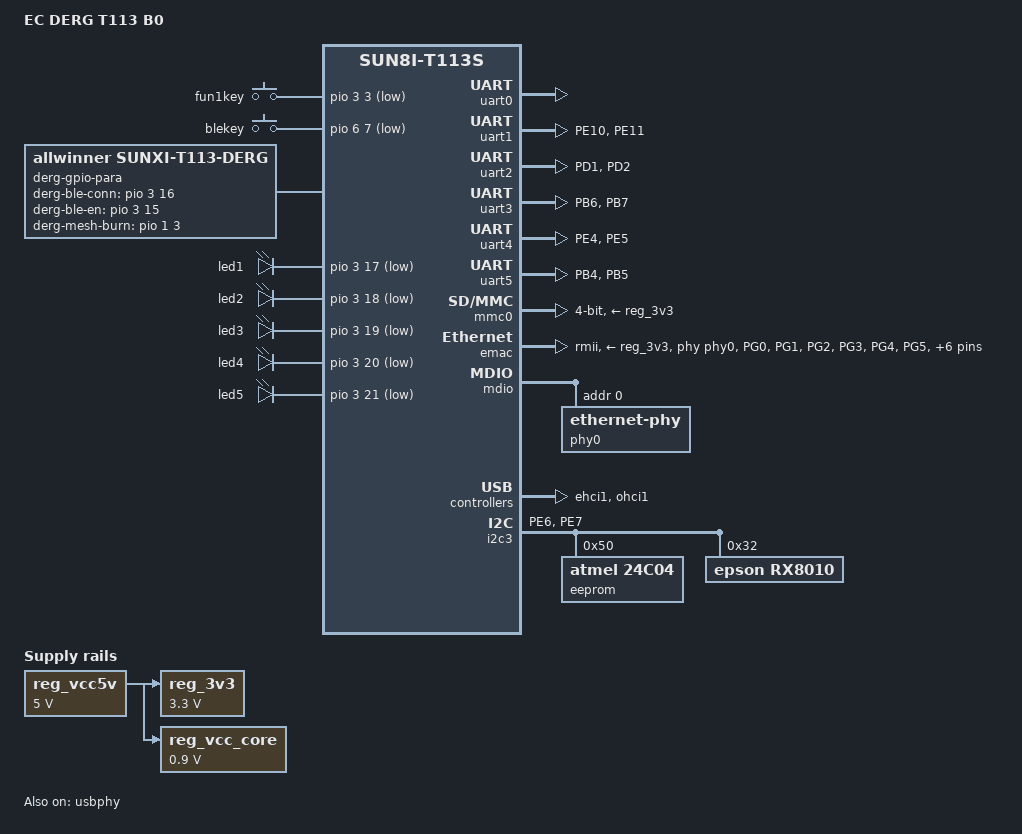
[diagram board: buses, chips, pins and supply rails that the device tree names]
// SPDX-License-Identifier: (GPL-2.0+ OR MIT)
// Copyright (C) 2022 Arm Ltd.

#include <dt-bindings/interrupt-controller/irq.h>
#include <dt-bindings/gpio/gpio.h>
#include <dt-bindings/leds/common.h>
#include <dt-bindings/pwm/pwm.h>

/dts-v1/;

#include "sun8i-t113s.dtsi"

/ {
	model = "EC DERG T113 B0";
	compatible = "allwinner,sun8i-t113s";

	aliases {
                serial0 = &uart0;
	};

        chosen {
               stdout-path = "serial0:115200n8";
        };

	/* board wide 5V supply directly from DC input */
	reg_vcc5v: regulator-5v {
		compatible = "regulator-fixed";
		regulator-name = "vcc-5v";
		regulator-min-microvolt = <5000000>;
		regulator-max-microvolt = <5000000>;
		regulator-always-on;
	};

	/* AMS1117-3.3 regulator on the board */
	reg_3v3: regulator-3v3 {
		compatible = "regulator-fixed";
		regulator-name = "vcc-3v3";
		regulator-min-microvolt = <3300000>;
		regulator-max-microvolt = <3300000>;
		vin-supply = <&reg_vcc5v>;
	};

	/* EA3036C DC/DC regulator on the board, also supplying VDD-SYS */
	reg_vcc_core: regulator-core {
		compatible = "regulator-fixed";
		regulator-name = "vcc-core";
		regulator-min-microvolt = <900000>;
		regulator-max-microvolt = <900000>;
		vin-supply = <&reg_vcc5v>;
	};

	watchdog {
		compatible = "allwinner,sun20i-d1-wdt";
		reg = <0x020500A0 0x20>;
	};

        derg-gpiokey {
                compatible = "gpio-keys";

                fun1key {
                        device_type = "fun1key";
                        label = "fun1key";
                        gpios = <&pio 3 3 GPIO_ACTIVE_LOW>;	//PD3
                        linux,input-type = <1>;
                        linux,code = <139>;
                        debounce-interval = <5>;
                        gpio-key,wakeup;
                };

                blekey {
                        device_type = "blekey";
                        label = "blekey";
                        gpios = <&pio 6 7 GPIO_ACTIVE_LOW>;	//PG7
                        linux,input-type = <1>;
                        linux,code = <140>;
                        debounce-interval = <5>;
                        gpio-key,wakeup;
                };
        };

        derg-gpio-para {
                compatible = "allwinner,sunxi-t113-derg";
                derg-ble-conn-gpios = <&pio 3 16 GPIO_ACTIVE_HIGH>;	//PD16
                derg-ble-en-gpios = <&pio 3 15 (GPIO_ACTIVE_HIGH | GPIO_PULL_UP)>;      //PD15
		derg-mesh-burn-gpios = <&pio 1 3 (GPIO_ACTIVE_HIGH | GPIO_PULL_UP)>;	//PB3
        };

        derg-leds {
                compatible = "gpio-leds";
                led1 {
                        label = "led1";
                        gpios = <&pio 3 17 GPIO_ACTIVE_LOW>;	//PD17
                        default-state = "off";
                };
                led2 {
                        label = "led2";
                        gpios = <&pio 3 18 GPIO_ACTIVE_LOW>;	//PD18
                        default-state = "off";
                };
                led3 {
                        label = "led3";
                        gpios = <&pio 3 19 GPIO_ACTIVE_LOW>;	//PD19
                        default-state = "off";
                };
                led4 {
                        label = "led4";
                        gpios = <&pio 3 20 GPIO_ACTIVE_LOW>;	//PD20
                        default-state = "off";
                };
                led5 {
                        label = "led5";
                        gpios = <&pio 3 21 GPIO_ACTIVE_LOW>;	//PD21
                        default-state = "off";
                };
        };
};

&pio {
	vcc-pc-supply = <&reg_3v3>;
	vcc-pd-supply = <&reg_3v3>;
	vcc-pe-supply = <&reg_3v3>;
	vcc-pf-supply = <&reg_3v3>;
	vcc-pg-supply = <&reg_3v3>;

        rmii_pg_pins: rmii-pg-pins {
	        pins = "PG0", "PG1", "PG2", "PG3", "PG4",
	        "PG5", "PG8", "PG11", "PG12", "PG13", "PG14", "PG15";
	        function = "emac";
        };

        ble_pins: ble_pins {
                pins = "PD1", "PD2";
                function = "uart2";
        };

        mesh_data_pins: mesh_data_pins {
                pins = "PB4", "PB5";
                function = "uart5";
        };

        mesh_debug_pins: mesh_debug_pins {
                pins = "PB6", "PB7";
                function = "uart3";
        };

        u485_1_pins: u485_1_pins {
                pins = "PE10", "PE11";
                function = "uart1";
        };

        u485_2_pins: u485_2_pins {
                pins = "PE4", "PE5";
                function = "uart4";
        };

	i2c3_pins: i2c3-pins {
		pins = "PE6", "PE7";
		function = "i2c3";
	};
};

&cpu0 {
	cpu-supply = <&reg_vcc_core>;
};

&cpu1 {
	cpu-supply = <&reg_vcc_core>;
};

&dcxo {
	clock-frequency = <24000000>;
};

&uart0 {
	pinctrl-names = "default";
	pinctrl-0 = <&uart0_pe_pins>;
	status = "okay";
};

&uart1 {
        pinctrl-names = "default";
        pinctrl-0 = <&u485_1_pins>;
        status = "okay";
};

&uart2 {
        pinctrl-names = "default";
        pinctrl-0 = <&ble_pins>;
        status = "okay";
};

&uart3 {
        pinctrl-names = "default";
        pinctrl-0 = <&mesh_debug_pins>;
        status = "okay";
};

&uart4 {
        pinctrl-names = "default";
        pinctrl-0 = <&u485_2_pins>;
        status = "okay";
};

&uart5 {
        pinctrl-names = "default";
        pinctrl-0 = <&mesh_data_pins>;
        status = "okay";
};

&mmc0 {
	pinctrl-names = "default";
	pinctrl-0 = <&mmc0_pins>;
	vmmc-supply = <&reg_3v3>;
	disable-wp;
	bus-width = <4>;
	status = "okay";
};

&emac {
	compatible = "allwinner,sun50i-h6-emac";
	pinctrl-names = "default";
	pinctrl-0 = <&rmii_pg_pins>;
	clocks = <&ccu CLK_BUS_EMAC>, <&ccu CLK_EMAC_25M>;
	clock-names = "stmmaceth", "pclk";
	phy-mode = "rmii";
	phy-handle = <&phy0>;
	phy-supply = <&reg_3v3>;
	status = "okay";
};

&mdio {
        phy0: ethernet-phy@0 {
                reg = <0>;
                motorcomm,clk-out-frequency-hz = <0>;
                motorcomm,auto-sleep-disabled;
                motorcomm,keep-pll-enabled;
        };
};

&usbphy {
	usb1_vbus-supply = <&reg_vcc5v>;
	status = "okay";
};

&ehci1 {
        status = "okay";
};

&ohci1 {
        status = "okay";
};

&usb_otg {
        status = "disable";
};

&i2c3 {
	status = "okay";
	pinctrl-names = "default";
	pinctrl-0 = <&i2c3_pins>;

	24c04@50 {
		compatible = "atmel,24c04";
		label = "eeprom";
		reg = <0x50>;
		pagesize = <16>;
		size = <256>;
	};

	//rx8025@32 {
	//	compatible = "epson,rx8025";
	//	reg = <0x32>;
	//};

	rx8010@32{
		compatible = "epson,rx8010";
		reg = <0x32>;
	};
};

